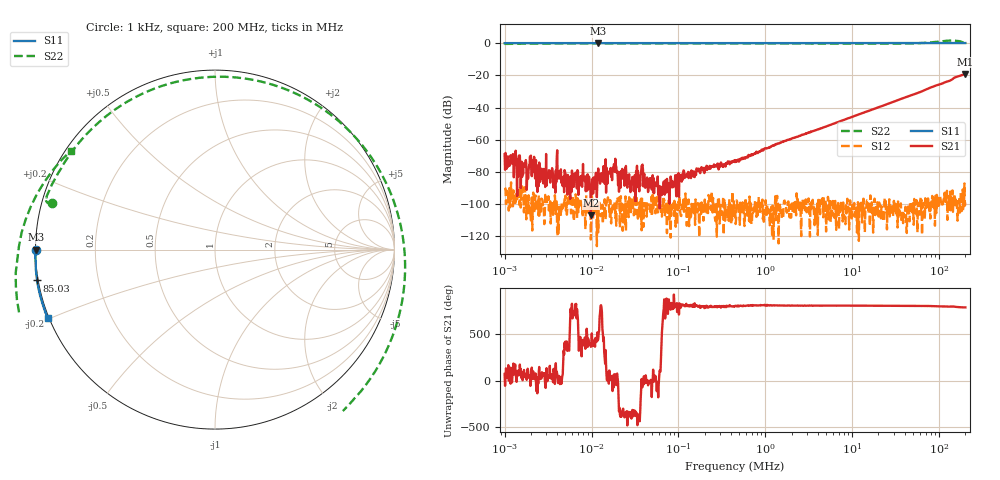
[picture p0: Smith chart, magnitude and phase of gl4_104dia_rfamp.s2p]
! ListType=Log
# MHZ S RI R 50
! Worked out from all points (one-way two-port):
!   1000 points, 1 kHz to 200 MHz, reference 50 ohm
!   highest |S21| = -19.09 dB at 200 MHz (marker M1); lowest = -106.9 dB at 9.824 kHz (marker M2)
!   lowest |S11| = 0.0 dB at 11.95 kHz (marker M3), VSWR 444.47, Z = 0.112 - j0.00521 ohm
!   |S11| at or under -10 dB: nowhere
!   |S22| runs from -0.5 to 1.7 dB; largest |S21 - S12| = 0.11
!   S11 on the Smith chart (normalised r, x): 1 kHz: 0.00, +0.00; 85.03 MHz: -0.00, -0.09; 200 MHz: -0.00, -0.20
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0.001  -0.9987 0.000112  9.2e-05 0.000345  -1.15e-05 -2.99e-05  -0.9089 0.26
0.0010761  -0.9976 -0.000179  4.89e-05 0.000134  -1.49e-05 9.5e-06  -0.9107 0.2588
0.0014079  -0.9988 0.000358  0.000151 0.0002  -2.14e-05 -5e-07  -0.9167 0.2574
0.0016104  -0.9982 -0.000216  0.00018 2.41e-05  -2.43e-05 9.4e-06  -0.9203 0.257
0.0027908  -0.9989 -2.1e-06  4.5e-06 4.4e-05  5.9e-06 -8.3e-06  -0.9328 0.2617
0.0076941  -0.9988 -0.000165  -8e-06 -7.6e-05  -2.1e-06 8.4e-06  -0.9422 0.2759
0.0098239  -0.9989 -0.000122  4.5e-06 5e-07  -8e-07 1e-07  -0.9426 0.2783
0.011945  -0.9955 -0.000207  -1.8e-06 0.000129  -1.2e-06 6e-07  -0.9435 0.2782
0.0180968  -0.9989 -9.15e-05  6.1e-05 0.000163  -8.6e-06 -3.5e-06  -0.9424 0.2828
0.0584804  -0.9989 -0.000198  -1.97e-05 -1.2e-06  1.1e-06 -7.5e-06  -0.9406 0.2882
0.1498297  -0.999 -0.000526  2.74e-05 9.93e-05  -4.6e-06 6e-07  -0.9394 0.2912
0.4499541  -0.9992 -0.00128  1.57e-05 0.000234  1.8e-06 7.1e-06  -0.9349 0.303
3.419952  -0.9999 -0.00776  5.58e-05 0.00181  -1.8e-06 -7.2e-06  -0.8867 0.4028
12.03851  -1.001 -0.026  0.000277 0.00619  -7.5e-06 -3e-07  -0.7122 0.6466
26.31347  -1.001 -0.0552  0.000753 0.0134  3.6e-06 -3.5e-06  -0.3118 0.9064
52.15945  -0.9983 -0.1071  0.00238 0.0262  7e-07 -1.11e-05  0.5302 0.8281
66.59778  -0.9958 -0.1357  0.00298 0.0339  -1.1e-05 4e-07  0.8882 0.4876
85.03279  -0.991 -0.1718  0.00575 0.0442  2.2e-06 -8.1e-06  1.059 -0.1319
107.2524  -0.9841 -0.2145  0.0104 0.0544  -1.6e-06 -8.5e-06  0.7458 -0.8653
135.278  -0.9712 -0.2673  0.0135 0.0687  -3.1e-06 -5.7e-06  -0.2103 -1.185
166.5079  -0.9537 -0.3247  0.0288 0.0894  -7e-06 -1.02e-05  -1.054 -0.491
200  -0.9314 -0.3828  0.0398 0.1037  -1.29e-05 -6.6e-06  -0.8026 0.5506
